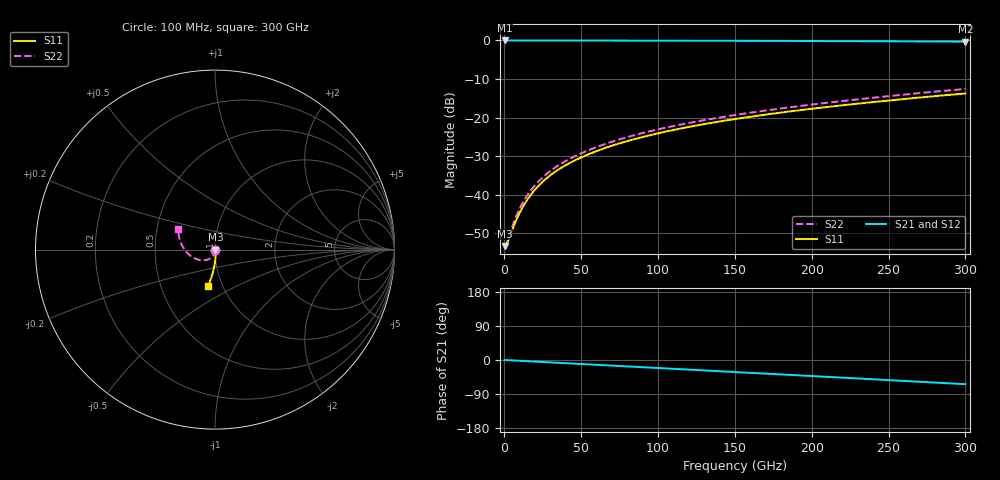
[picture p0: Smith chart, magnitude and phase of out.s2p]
#  Hz  S  RI  R  50
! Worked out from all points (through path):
!   3000 points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, 100 MHz to 300 GHz, reference 50 ohm
!   highest |S21| = -0.02 dB at 100 MHz (marker M1); lowest = -0.3 dB at 300 GHz (marker M2)
!   group delay of S21, straight-line fit = 590 fs
!   lowest |S11| = -53.3 dB at 100 MHz (marker M3), VSWR 1.00, Z = 50.2 - j0.00523 ohm
!   |S11| at or under -10 dB: start of sweep to end of sweep
!   |S22| runs from -53.3 to -12.6 dB; largest |S21 - S12| = 0.0094
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1e8  0.00217 -5.2e-05  0.9979 -0.000378  0.9979 -0.000379  0.00216 -6.27e-05
1.2e9  0.00217 -0.000625  0.9979 -0.00454  0.9979 -0.00455  0.00216 -0.000753
2.3e9  0.00219 -0.0012  0.9978 -0.0087  0.9979 -0.00872  0.00216 -0.00144
6.6e9  0.00233 -0.00348  0.9974 -0.0249  0.9974 -0.025  0.00212 -0.00418
8.2e9  0.00241 -0.00435  0.9971 -0.0309  0.9971 -0.031  0.00209 -0.00522
1e10  0.00252 -0.00535  0.9967 -0.0376  0.9967 -0.0377  0.00204 -0.00641
1.19e10  0.00264 -0.00643  0.9962 -0.0446  0.9962 -0.0447  0.00196 -0.00768
1.4e10  0.00277 -0.00765  0.9957 -0.0523  0.9957 -0.0525  0.00184 -0.00911
1.88e10  0.00307 -0.0106  0.9942 -0.0699  0.9942 -0.07  0.00137 -0.0125
2.49e10  0.00332 -0.0144  0.9921 -0.092  0.9921 -0.0922  0.00035 -0.0168
3.2e10  0.00342 -0.019  0.9892 -0.1177  0.9892 -0.1179  -0.00148 -0.0218
4.02e10  0.00334 -0.0242  0.9849 -0.1474  0.985 -0.1477  -0.00432 -0.0273
5.01e10  0.00318 -0.0304  0.9784 -0.183  0.9785 -0.1835  -0.00856 -0.0335
6.07e10  0.00294 -0.0372  0.97 -0.2207  0.9701 -0.2213  -0.0141 -0.0397
7.24e10  0.00249 -0.0447  0.9591 -0.2621  0.9593 -0.2627  -0.0214 -0.0458
8.53e10  0.00179 -0.0531  0.9448 -0.307  0.9451 -0.3078  -0.0307 -0.0513
1.001e11  0.000806 -0.0627  0.9258 -0.3576  0.9262 -0.3586  -0.0428 -0.056
1.231e11  -0.00123 -0.0778  0.8906 -0.4339  0.8913 -0.4353  -0.0643 -0.0594
1.501e11  -0.00434 -0.0957  0.8409 -0.5192  0.8419 -0.521  -0.0923 -0.0562
2.001e11  -0.0124 -0.1297  0.7262 -0.6614  0.7277 -0.6648  -0.145 -0.0275
2.501e11  -0.0234 -0.1647  0.5853 -0.7783  0.5872 -0.784  -0.1871 0.0312
3e11  -0.0386 -0.2017  0.4244 -0.8645  0.4261 -0.8737  -0.2048 0.1154
